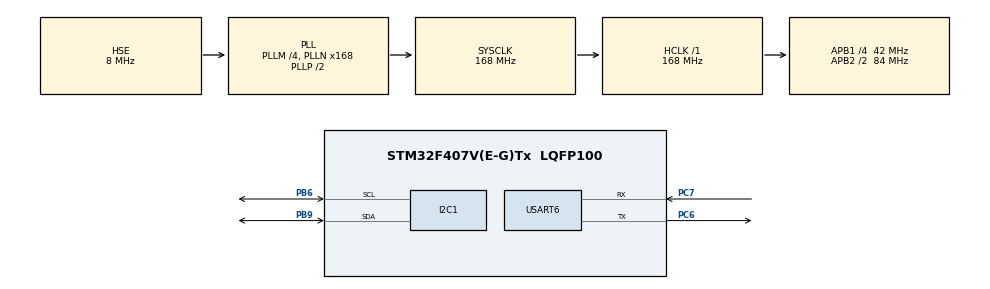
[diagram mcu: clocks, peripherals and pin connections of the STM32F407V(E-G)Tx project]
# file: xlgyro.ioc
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Dma.Request0=USART6_TX
Dma.USART6_TX.0.Direction=DMA_MEMORY_TO_PERIPH
Dma.USART6_TX.0.FIFOMode=DMA_FIFOMODE_ENABLE
Dma.USART6_TX.0.FIFOThreshold=DMA_FIFO_THRESHOLD_FULL
Dma.USART6_TX.0.Instance=DMA2_Stream6
Dma.USART6_TX.0.MemBurst=DMA_MBURST_SINGLE
Dma.USART6_TX.0.MemDataAlignment=DMA_MDATAALIGN_BYTE
Dma.USART6_TX.0.MemInc=DMA_MINC_ENABLE
Dma.USART6_TX.0.Mode=DMA_NORMAL
Dma.USART6_TX.0.PeriphBurst=DMA_PBURST_SINGLE
Dma.USART6_TX.0.PeriphDataAlignment=DMA_PDATAALIGN_BYTE
Dma.USART6_TX.0.PeriphInc=DMA_PINC_DISABLE
Dma.USART6_TX.0.Priority=DMA_PRIORITY_LOW
I2C1.I2C_Mode=I2C_Standard
Mcu.Family=STM32F4
Mcu.Name=STM32F407V(E-G)Tx
Mcu.Package=LQFP100
NVIC.DMA2_Stream6_IRQn=true\:0\:0\:false\:false\:true\:false\:true
NVIC.PriorityGroup=NVIC_PRIORITYGROUP_4
NVIC.TIM6_DAC_IRQn=true\:0\:0\:false\:false\:true\:true\:true
NVIC.USART6_IRQn=true\:0\:0\:false\:false\:true\:true\:true
PB6.Mode=I2C
PB6.Signal=I2C1_SCL
PB9.Mode=I2C
PB9.Signal=I2C1_SDA
PC6.Mode=Asynchronous
PC6.Signal=USART6_TX
PC7.Mode=Asynchronous
PC7.Signal=USART6_RX
PH0-OSC_IN.Mode=HSE-External-Oscillator
PH0-OSC_IN.Signal=RCC_OSC_IN
PH1-OSC_OUT.Mode=HSE-External-Oscillator
PH1-OSC_OUT.Signal=RCC_OSC_OUT
ProjectManager.HeapSize=0x200
ProjectManager.StackSize=0x400
ProjectManager.TargetToolchain=STM32CubeIDE
RCC.48MHZClocksFreq_Value=84000000
RCC.AHBFreq_Value=168000000
RCC.APB1CLKDivider=RCC_HCLK_DIV4
RCC.APB1Freq_Value=42000000
RCC.APB1TimFreq_Value=84000000
RCC.APB2CLKDivider=RCC_HCLK_DIV2
RCC.APB2Freq_Value=84000000
RCC.APB2TimFreq_Value=168000000
RCC.CortexFreq_Value=168000000
RCC.HCLKFreq_Value=168000000
RCC.HSE_VALUE=8000000
RCC.HSI_VALUE=16000000
RCC.LSE_VALUE=32768
RCC.PLLM=4
RCC.PLLN=168
RCC.PLLSourceVirtual=RCC_PLLSOURCE_HSE
RCC.SYSCLKFreq_VALUE=168000000
RCC.SYSCLKSource=RCC_SYSCLKSOURCE_PLLCLK
RCC.VCOOutputFreq_Value=336000000
TIM6.Period=200
TIM6.Prescaler=42000
USART6.VirtualMode=VM_ASYNC
VP_TIM6_VS_ClockSourceINT.Mode=Enable_Timer
board=custom

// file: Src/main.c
/* USER CODE BEGIN Header */
/**
  ******************************************************************************
  * @file           : main.c
  * @brief          : Main program body
  ******************************************************************************
  * @attention
  *
  * <h2><center>&copy; Copyright (c) 2019 STMicroelectronics.
  * All rights reserved.</center></h2>
  *
  * This software component is licensed by ST under BSD 3-Clause license,
  * the "License"; You may not use this file except in compliance with the
  * License. You may obtain a copy of the License at:
  *                        opensource.org/licenses/BSD-3-Clause
  *
  ******************************************************************************
  */
/* USER CODE END Header */

#include "main.h"

/* USER CODE BEGIN Includes */
#include <string.h>
#include "lsm9ds1.h"
#include "crc16.h"
/* USER CODE END Includes */

/* USER CODE BEGIN PTD */
#define DATA_BUF_SIZE               (1024)
#define TX_BUF_SIZE                 (1024 * 6)
#define DATA_BUFS_NUM               (2)
#define CLOCK_NUM_TO_RELEASE_I2C    (9)
#define PACKET_PREAMBULE            (0xAA55)

#define FIELD_SIZEOF(t, f)          (sizeof(((t*)0)->f))

#define DATA_PACKET_LEN_NO_CRC(itms)  ( \
                                            FIELD_SIZEOF(DATA_PACKET_S, preambule1) + \
                                            FIELD_SIZEOF(DATA_PACKET_S, preambule2) + \
                                            FIELD_SIZEOF(DATA_PACKET_S, readySamplesNum) + \
                                            sizeof(RAW_DATA_S) * itms * 2 )

#define DATA_PACKET_LEN(itms)  ( \
                                            FIELD_SIZEOF(DATA_PACKET_S, preambule1) + \
                                            FIELD_SIZEOF(DATA_PACKET_S, preambule2) + \
                                            FIELD_SIZEOF(DATA_PACKET_S, readySamplesNum) + \
                                            sizeof(RAW_DATA_S) * itms * 2 + \
                                            FIELD_SIZEOF(DATA_PACKET_S, crc16))

typedef struct __attribute__((packed, aligned(1))) DATA_PACKET_STRUCT
{
    uint16_t preambule1;
    uint16_t preambule2;
    uint16_t readySamplesNum;
    struct
    {
        RAW_DATA_S aValue;
        RAW_DATA_S gValue;
    } bufs[DATA_BUF_SIZE];
} DATA_PACKET_S;

typedef struct __attribute__((packed, aligned(1))) CIRCULAR_BUF_STRUCT
{
    uint32_t activeBufIdx;
    DATA_PACKET_S payload[DATA_BUFS_NUM];
} CIRCULAR_BUF_S;

/* USER CODE END PTD */

I2C_HandleTypeDef hi2c1;

TIM_HandleTypeDef htim6;

UART_HandleTypeDef huart6;
DMA_HandleTypeDef hdma_usart6_tx;

/* USER CODE BEGIN PV */
static const LSM9DS1_CONFIG_S lsm9ds1Config =
{
    .linearAccelerationRate = E_LINEAR_ACCELERATION_RANGE_2,
    .angularRate = E_ANGULAR_RATE_RANGE_245,
    .magneticRange = E_MAGNETIC_RANGE_4,
    .operatingMode = E_OPERATING_MODE_XL_GYRO,
    .xlPowerMode = E_XL_POWER_MODE_952HZ,
    .gyroPowerMode = E_GYRO_POWER_MODE_952HZ,
    .fifoMode = E_FIFO_MODE_CONTINUOUS
};

CIRCULAR_BUF_S data = { 0 };
uint8_t txBuf[TX_BUF_SIZE] = { 0 };

RAW_DATA_S accelAveraged = { 0 };
RAW_DATA_S gyroAveraged = { 0 };

static volatile bool sendData = false;

static volatile uint32_t debug_var = 0;
static volatile bool inProgress = false;

/* USER CODE END PV */

void SystemClock_Config(void);
static void MX_GPIO_Init(void);
static void MX_DMA_Init(void);
static void MX_I2C1_Init(void);
static void MX_TIM6_Init(void);
static void MX_USART6_UART_Init(void);
/* USER CODE BEGIN PFP */
static bool dataBufSend(CIRCULAR_BUF_S *pBuf);
static void releaseI2cBus();
/* USER CODE END PFP */

/* USER CODE BEGIN 0 */

/**
 * @brief Sends 9 clocks to release I2C bus
 *
 */
static void releaseI2cBus()
{
    GPIO_InitTypeDef i2cSclGpio = {0};
    /* Send 9 clocks (SCL) to put slave device
     * into initial state and release bus */
    i2cSclGpio.Pin = (GPIO_PIN_6 | GPIO_PIN_9);
    i2cSclGpio.Mode = GPIO_MODE_OUTPUT_OD;
    i2cSclGpio.Pull = GPIO_PULLUP;
    i2cSclGpio.Speed = GPIO_SPEED_FREQ_VERY_HIGH;
    HAL_GPIO_Init(GPIOB, &i2cSclGpio);
    /* Release SDA */
    HAL_GPIO_WritePin(GPIOB, GPIO_PIN_9, GPIO_PIN_SET);

    for (uint8_t i = 0; i < CLOCK_NUM_TO_RELEASE_I2C; ++i)
    {
        HAL_GPIO_WritePin(GPIOB, GPIO_PIN_6, GPIO_PIN_SET);
        HAL_Delay(10);
        HAL_GPIO_WritePin(GPIOB, GPIO_PIN_6, GPIO_PIN_RESET);
        HAL_Delay(10);
    }
    /* Release SCL */
    HAL_GPIO_WritePin(GPIOB, GPIO_PIN_6, GPIO_PIN_SET);
}

/**
 * @brief Sets flags to notify that time is elapsed
 *
 * @param[in] htim Pointer to timer handle
 * @note This function is called from interrupt context
 *       so it should be short and fast
 */
void HAL_TIM_PeriodElapsedCallback(TIM_HandleTypeDef *htim)
{
    /* Prevent unused argument(s) compilation warning */
    UNUSED(htim);

    /* Function is called from TIM6 IRQ handler */
    sendData = true;
}

void HAL_UART_TxCpltCallback(UART_HandleTypeDef *huart)
{
    inProgress = false;
}

void DataBufValuesAppend(RAW_DATA_S *pAccelValue, RAW_DATA_S *pGyroValue)
{
    const uint32_t idx = data.activeBufIdx;
    const uint32_t sampleIdx = data.payload[idx].readySamplesNum;

    if (pAccelValue != NULL && pGyroValue != NULL)
    {
        if (sampleIdx < DATA_BUF_SIZE)
        {
            memcpy(
                &data.payload[idx].bufs[sampleIdx].aValue,
                pAccelValue,
                sizeof(RAW_DATA_S));

            memcpy(
                &data.payload[idx].bufs[sampleIdx].gValue,
                pGyroValue,
                sizeof(RAW_DATA_S));

            data.payload[idx].readySamplesNum++;
        }
        else
        {
            /* Buffer is full - initiate data transfer */
            ENTER_CRITICAL_SECTION();
            sendData = true;
            EXIT_CRITICAL_SECTION();
        }
    }
}

static bool dataBufSend(CIRCULAR_BUF_S *pData)
{
    bool ret = false;
    HAL_StatusTypeDef status = HAL_ERROR;
    const uint32_t idx = pData->activeBufIdx;
    const uint16_t samples = pData->payload[idx].readySamplesNum;
    uint32_t payloadLen = 0;
    uint16_t crc16 = 0;

    if (inProgress == false && samples > 0)
    {
        ENTER_CRITICAL_SECTION();
        pData->activeBufIdx++;
        if (pData->activeBufIdx >= DATA_BUFS_NUM)
        {
            pData->activeBufIdx = 0;
        }
        EXIT_CRITICAL_SECTION();

        pData->payload[idx].preambule1 = PACKET_PREAMBULE;
        pData->payload[idx].preambule2 = PACKET_PREAMBULE;
        payloadLen = DATA_PACKET_LEN_NO_CRC(samples);
        if ((payloadLen + 4) <= TX_BUF_SIZE)    // +2 for CRC
        {
            memcpy(txBuf, (uint8_t*)&pData->payload[idx], payloadLen);
        }
    //    crc16 = CalcCrc16(txBuf, payloadLen);
    //    txBuf[payloadLen] = (uint8_t)(crc16 >> 8);
    //    txBuf[payloadLen + 1] = (uint8_t)(crc16);
        txBuf[payloadLen] = 0xA5;
        txBuf[payloadLen + 1] = 0xA5;
        txBuf[payloadLen + 2] = 0xA5;
        txBuf[payloadLen + 3] = 0xA5;

        status = HAL_UART_Transmit_DMA(
                        &huart6,
                        txBuf,
                        (payloadLen + 4));

        if (status == HAL_OK)
        {
        	pData->payload[idx].readySamplesNum = 0;
            ENTER_CRITICAL_SECTION();
            inProgress = true;
            EXIT_CRITICAL_SECTION();
            ret = true;
        }
    }
    else
    {
        ret = true;
    }

    return ret;
}
/* USER CODE END 0 */

int main(void)
{
  /* USER CODE BEGIN 1 */

  LSM9DS1_OPERATION_STATUS_E status = E_LSM9DS1_FAIL;
//  uint32_t samples = 0;
  bool dataSent = false;

  /* USER CODE END 1 */

  /* MCU Configuration--------------------------------------------------------*/

  /* Reset of all peripherals, Initializes the Flash interface and the Systick. */
  HAL_Init();

  /* Configure the system clock */
  SystemClock_Config();

  /* USER CODE BEGIN SysInit */
    MX_GPIO_Init();
    releaseI2cBus();
  /* USER CODE END SysInit */

  /* Initialize all configured peripherals */
  MX_GPIO_Init();
  MX_DMA_Init();
  MX_I2C1_Init();
  MX_TIM6_Init();
  MX_USART6_UART_Init();
  /* USER CODE BEGIN 2 */
    /* Init LSM9DS1 with given config */
    status = LSM9DS1_Init(&hi2c1, &lsm9ds1Config);
    if (E_LSM9DS1_SUCCESS != status)
    {
        return 1;
    }

    status = LSM9DS1_Calibrate();
    if (E_LSM9DS1_SUCCESS != status)
    {
        return 1;
    }

    HAL_TIM_Base_Start_IT(&htim6);

  /* USER CODE END 2 */

  /* Infinite loop */
  /* USER CODE BEGIN WHILE */
  while (1)
  {
        (void)LSM9DS1_PollDataBlocking(DataBufValuesAppend);

        if (sendData == true)
        {
            dataSent = dataBufSend(&data);
            if (dataSent == true)
            {
                ENTER_CRITICAL_SECTION();
                sendData = false;
                EXIT_CRITICAL_SECTION();
            }
        }
    // HAL_Delay(100);
    /* USER CODE END WHILE */

  }
}

void SystemClock_Config(void)
{
  RCC_OscInitTypeDef RCC_OscInitStruct = {0};
  RCC_ClkInitTypeDef RCC_ClkInitStruct = {0};

  /** Configure the main internal regulator output voltage
  */
  __HAL_RCC_PWR_CLK_ENABLE();
  __HAL_PWR_VOLTAGESCALING_CONFIG(PWR_REGULATOR_VOLTAGE_SCALE1);
  /** Initializes the CPU, AHB and APB busses clocks
  */
  RCC_OscInitStruct.OscillatorType = RCC_OSCILLATORTYPE_HSE;
  RCC_OscInitStruct.HSEState = RCC_HSE_ON;
  RCC_OscInitStruct.PLL.PLLState = RCC_PLL_ON;
  RCC_OscInitStruct.PLL.PLLSource = RCC_PLLSOURCE_HSE;
  RCC_OscInitStruct.PLL.PLLM = 4;
  RCC_OscInitStruct.PLL.PLLN = 168;
  RCC_OscInitStruct.PLL.PLLP = RCC_PLLP_DIV2;
  RCC_OscInitStruct.PLL.PLLQ = 4;
  if (HAL_RCC_OscConfig(&RCC_OscInitStruct) != HAL_OK)
  {
    Error_Handler();
  }
  /** Initializes the CPU, AHB and APB busses clocks
  */
  RCC_ClkInitStruct.ClockType = RCC_CLOCKTYPE_HCLK|RCC_CLOCKTYPE_SYSCLK
                              |RCC_CLOCKTYPE_PCLK1|RCC_CLOCKTYPE_PCLK2;
  RCC_ClkInitStruct.SYSCLKSource = RCC_SYSCLKSOURCE_PLLCLK;
  RCC_ClkInitStruct.AHBCLKDivider = RCC_SYSCLK_DIV1;
  RCC_ClkInitStruct.APB1CLKDivider = RCC_HCLK_DIV4;
  RCC_ClkInitStruct.APB2CLKDivider = RCC_HCLK_DIV2;

  if (HAL_RCC_ClockConfig(&RCC_ClkInitStruct, FLASH_LATENCY_5) != HAL_OK)
  {
    Error_Handler();
  }
}

static void MX_I2C1_Init(void)
{

  hi2c1.Instance = I2C1;
  hi2c1.Init.ClockSpeed = 100000;
  hi2c1.Init.DutyCycle = I2C_DUTYCYCLE_2;
  hi2c1.Init.OwnAddress1 = 0;
  hi2c1.Init.AddressingMode = I2C_ADDRESSINGMODE_7BIT;
  hi2c1.Init.DualAddressMode = I2C_DUALADDRESS_DISABLE;
  hi2c1.Init.OwnAddress2 = 0;
  hi2c1.Init.GeneralCallMode = I2C_GENERALCALL_DISABLE;
  hi2c1.Init.NoStretchMode = I2C_NOSTRETCH_DISABLE;
  if (HAL_I2C_Init(&hi2c1) != HAL_OK)
  {
    Error_Handler();
  }

}

static void MX_TIM6_Init(void)
{

  TIM_MasterConfigTypeDef sMasterConfig = {0};

  htim6.Instance = TIM6;
  htim6.Init.Prescaler = 42000;
  htim6.Init.CounterMode = TIM_COUNTERMODE_UP;
  htim6.Init.Period = 200;
  htim6.Init.AutoReloadPreload = TIM_AUTORELOAD_PRELOAD_DISABLE;
  if (HAL_TIM_Base_Init(&htim6) != HAL_OK)
  {
    Error_Handler();
  }
  sMasterConfig.MasterOutputTrigger = TIM_TRGO_RESET;
  sMasterConfig.MasterSlaveMode = TIM_MASTERSLAVEMODE_DISABLE;
  if (HAL_TIMEx_MasterConfigSynchronization(&htim6, &sMasterConfig) != HAL_OK)
  {
    Error_Handler();
  }

}

static void MX_USART6_UART_Init(void)
{

  huart6.Instance = USART6;
  huart6.Init.BaudRate = 115200;
  huart6.Init.WordLength = UART_WORDLENGTH_8B;
  huart6.Init.StopBits = UART_STOPBITS_1;
  huart6.Init.Parity = UART_PARITY_NONE;
  huart6.Init.Mode = UART_MODE_TX_RX;
  huart6.Init.HwFlowCtl = UART_HWCONTROL_NONE;
  huart6.Init.OverSampling = UART_OVERSAMPLING_16;
  if (HAL_UART_Init(&huart6) != HAL_OK)
  {
    Error_Handler();
  }

}

static void MX_DMA_Init(void)
{

  /* DMA controller clock enable */
  __HAL_RCC_DMA2_CLK_ENABLE();

  /* DMA interrupt init */
  /* DMA2_Stream6_IRQn interrupt configuration */
  HAL_NVIC_SetPriority(DMA2_Stream6_IRQn, 0, 0);
  HAL_NVIC_EnableIRQ(DMA2_Stream6_IRQn);

}

static void MX_GPIO_Init(void)
{

  /* GPIO Ports Clock Enable */
  __HAL_RCC_GPIOH_CLK_ENABLE();
  __HAL_RCC_GPIOC_CLK_ENABLE();
  __HAL_RCC_GPIOB_CLK_ENABLE();

}

void Error_Handler(void)
{
}

/************************ (C) COPYRIGHT STMicroelectronics *****END OF FILE****/
